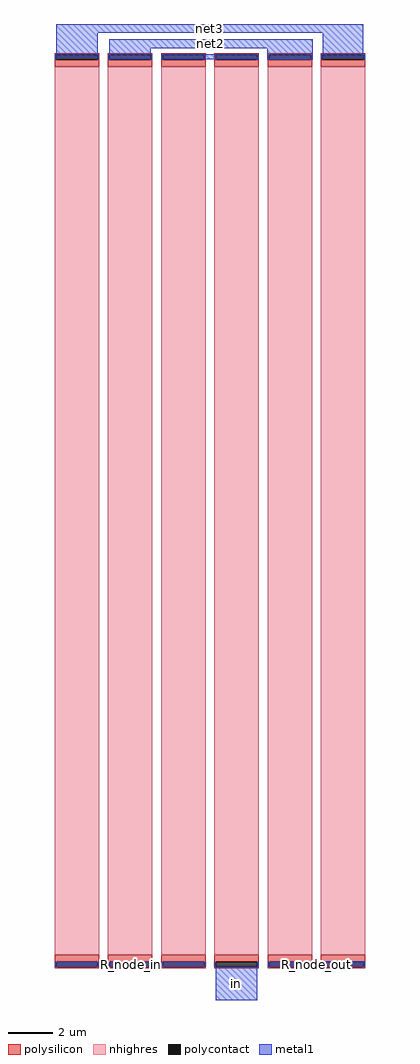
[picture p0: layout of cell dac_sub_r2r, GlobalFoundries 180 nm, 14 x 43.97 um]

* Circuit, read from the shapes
.subckt dac_sub_r2r R_node_in in R_node_out
XR1 net3 R_node_in VSUBS ppolyf_u_1k r_width=2u r_length=40u
XR2 net2 R_node_in VSUBS ppolyf_u_1k r_width=2u r_length=40u
XR3 net1 R_node_in VSUBS ppolyf_u_1k r_width=2u r_length=40u
XR4 net1 in VSUBS ppolyf_u_1k r_width=2u r_length=40u
XR5 net2 R_node_out VSUBS ppolyf_u_1k r_width=2u r_length=40u
XR6 net3 R_node_out VSUBS ppolyf_u_1k r_width=2u r_length=40u
.ends

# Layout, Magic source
magic
tech gf180mcuD
magscale 1 10
<< metal1 >>
rect 120 8614 2889 8693
rect 120 8613 1951 8614
rect 120 8393 494 8613
rect 599 8474 2430 8554
rect 599 8374 973 8474
rect 1079 8374 1933 8420
rect 2020 8373 2430 8474
rect 2521 8394 2889 8614
rect 2520 245 2900 246
rect 127 199 1464 245
rect 2039 200 2900 245
rect 2039 199 2889 200
rect 1559 -101 1933 199
use ppolyf_u_1k_932AWZ  ppolyf_u_1k_932AWZ_0
transform 1 0 1506 0 1 4308
box -1400 -4122 1400 4122
<< labels >>
flabel metal1 1559 -101 1933 199 0 FreeSans 1600 0 0 0 in
port 2 nsew
flabel metal1 2039 199 2889 245 0 FreeSans 800 0 0 0 R_node_out
port 3 nsew
flabel metal1 127 199 1464 245 0 FreeSans 800 0 0 0 R_node_in
port 1 nsew
flabel metal1 120 8614 2889 8693 0 FreeSans 800 0 0 0 net3
flabel metal1 599 8474 2430 8554 0 FreeSans 800 0 0 0 net2
flabel metal1 1079 8374 1933 8420 0 FreeSans 800 0 0 0 net1
<< end >>

# cell ppolyf_u_1k_932AWZ: kit device ppolyf_u_1k, w 2 l 40 m 1 nx 6 wmin 1.000 lmin 1.000 class resistor rho 1000 val 20.0k dummy 0 dw 0.0 term 0.0 sterm 0.0 caplen 0.4 snake 0 glc 0 grc 0 gtc 0 gbc 0 roverlap 0 endcov 100 full_metal 0 compatible {ppolyf_u_1k ppolyf_u_1k_6p0}
